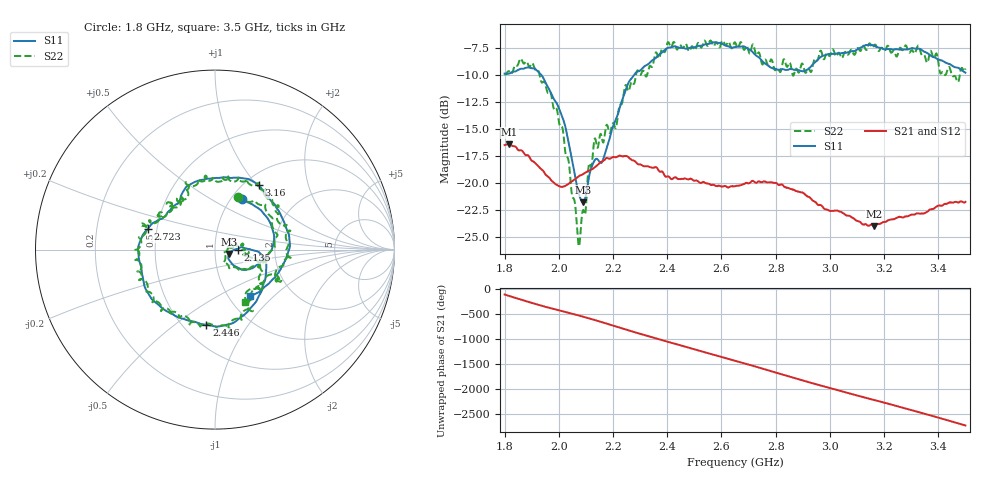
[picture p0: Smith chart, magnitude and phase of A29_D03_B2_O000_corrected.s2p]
! Created with skrf 1.9.0 (http://scikit-rf.org).
# Hz S RI R 50.0
!freq ReS11 ImS11 ReS21 ImS21 ReS12 ImS12 ReS22 ImS22
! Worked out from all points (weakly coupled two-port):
!   1601 points, 1.8 GHz to 3.5 GHz, reference 50 ohm
!   highest |S21| = -16.41 dB at 1.817 GHz (marker M1); lowest = -24.0 dB at 3.163 GHz (marker M2)
!   lowest |S11| = -21.8 dB at 2.09 GHz (marker M3), VSWR 1.18, Z = 58.4 - j2.84 ohm
!   |S11| at or under -10 dB: 1.935 GHz to 2.278 GHz (342.6 MHz wide, 16.3 % of centre)
!   |S22| runs from -25.8 to -6.8 dB; largest |S21 - S12| = 0.0026
!   S11 on the Smith chart (normalised r, x): 1.8 GHz: 1.12, +0.71; 2.135 GHz: 1.29, -0.01; 2.446 GHz: 0.65, -0.66; 2.723 GHz: 0.44, +0.12; 3.16 GHz: 1.16, +1.03; 3.5 GHz: 1.25, -0.72
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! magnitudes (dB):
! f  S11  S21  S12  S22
! 1.8 GHz  -9.9  -16.5  -16.5  -9.9
! 1.817 GHz  -9.9  -16.4  -16.4  -9.7
! 1.903 GHz  -9.4  -18.0  -18.0  -8.9
! 1.968 GHz  -11.5  -19.6  -19.6  -11.6
! 2.015 GHz  -14.0  -20.3  -20.4  -15.0
! 2.072 GHz  -20.8  -19.4  -19.4  -25.6
! 2.084 GHz  -21.6  -19.3  -19.2  -23.4
! 2.09 GHz  -21.8  -19.2  -19.2  -22.5
! 2.135 GHz  -17.8  -18.5  -18.5  -15.9
! 2.163 GHz  -17.8  -18.0  -17.9  -16.2
! 2.261 GHz  -10.5  -17.7  -17.7  -11.2
! 2.367 GHz  -8.2  -18.8  -18.7  -8.4
! 2.446 GHz  -7.5  -19.6  -19.6  -7.2
! 2.65 GHz  -7.4  -20.3  -20.3  -7.0
! 2.723 GHz  -8.1  -19.9  -19.9  -7.8
! 2.81 GHz  -9.5  -20.2  -20.1  -9.5
! 2.934 GHz  -9.1  -21.6  -21.5  -9.6
! 3.16 GHz  -7.3  -23.9  -23.9  -7.4
! 3.163 GHz  -7.3  -24.0  -23.9  -7.3
! 3.217 GHz  -7.6  -23.4  -23.4  -7.4
! 3.469 GHz  -9.3  -21.8  -21.7  -10.6
! 3.5 GHz  -9.8  -21.7  -21.7  -9.4
